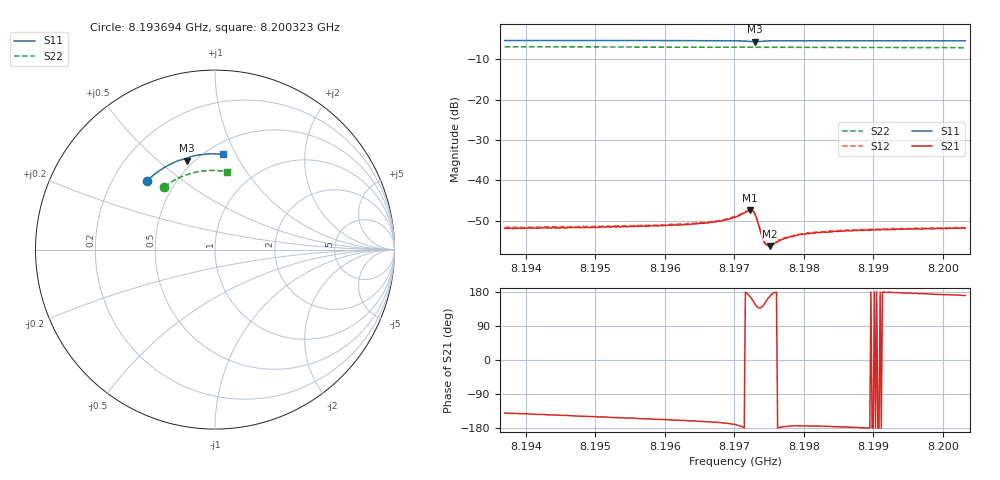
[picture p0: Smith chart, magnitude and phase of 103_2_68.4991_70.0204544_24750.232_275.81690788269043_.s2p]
#  HZ  S  RI  R  50.00
! Rohde & Schwarz Vector Network Analyzer
! Rohde-Schwarz,ZNB20-2Port,1311601062101988,3.16
! Created: UTC 3/20/2024, 4:53:08 PM
! freq[Hz]  re:S11  im:S11  re:S21  im:S21  re:S12  im:S12  re:S22  im:S22
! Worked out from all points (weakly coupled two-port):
!   401 points, 8.193694 GHz to 8.200323 GHz, reference 50 ohm
!   highest |S21| = -47.43 dB at 8.197224 GHz (marker M1); lowest = -56.3 dB at 8.197506 GHz (marker M2)
!   lowest |S11| = -5.7 dB at 8.197291 GHz (marker M3), VSWR 3.16, Z = 23 + j31.2 ohm
!   |S11| at or under -10 dB: nowhere
!   |S22| runs from -7.2 to -6.9 dB; largest |S21 - S12| = 0.00021
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8.1936941e9  -0.3793 0.3829  -0.00195 -0.00164  -0.00206 -0.00159  -0.2826 0.3495
8.1948045e9  -0.3192 0.4333  -0.00222 -0.00139  -0.00234 -0.00133  -0.231 0.384
8.195915e9  -0.2521 0.4744  -0.0025 -0.00107  -0.00261 -0.001  -0.1751 0.4105
8.1962796e9  -0.2285 0.4858  -0.00265 -0.001  -0.00276 -0.000885  -0.1559 0.4177
8.1966276e9  -0.205 0.4954  -0.00286 -0.000845  -0.00296 -0.00076  -0.1375 0.4236
8.1968762e9  -0.1872 0.5015  -0.00317 -0.000763  -0.00328 -0.000647  -0.1237 0.4272
8.1970088e9  -0.1766 0.504  -0.00345 -0.000584  -0.00357 -0.000441  -0.1165 0.4292
8.1972243e9  -0.1578 0.5003  -0.00415 0.000912  -0.00417 0.00109  -0.1046 0.4314
8.1972574e9  -0.1568 0.4973  -0.00393 0.0015  -0.00392 0.00168  -0.1029 0.4318
8.1972906e9  -0.1579 0.4951  -0.00335 0.00199  -0.00332 0.00213  -0.1011 0.432
8.1973237e9  -0.1604 0.4949  -0.00258 0.00209  -0.00256 0.00217  -0.0994 0.4325
8.19739e9  -0.1622 0.5005  -0.00161 0.00138  -0.00157 0.00149  -0.0959 0.4333
8.1974231e9  -0.1609 0.5035  -0.00145 0.000973  -0.00143 0.00107  -0.0941 0.4338
8.1974563e9  -0.1589 0.5062  -0.00146 0.000659  -0.00142 0.000747  -0.0923 0.434
8.1974894e9  -0.1566 0.5084  -0.00148 0.000424  -0.00152 0.000476  -0.0904 0.4344
8.197506e9  -0.1552 0.5093  -0.00149 0.000347  -0.00154 0.000402  -0.0895 0.4346
8.1977546e9  -0.1359 0.5174  -0.00192 -0.000154  -0.00198 -9.88e-05  -0.0757 0.4369
8.1978872e9  -0.1262 0.52  -0.00208 -0.000243  -0.00214 -0.000142  -0.0683 0.4379
8.1981192e9  -0.1093 0.5238  -0.00221 -0.000242  -0.00226 -0.000161  -0.0552 0.4394
8.1986496e9  -0.0716 0.53  -0.00236 -0.000113  -0.00241 2.38e-05  -0.0252 0.441
8.1992296e9  -0.0305 0.5332  -0.00245 4.74e-05  -0.0025 0.00018  0.00766 0.4406
8.2003235e9  0.0472 0.5309  -0.00252 0.000427  -0.00254 0.000557  0.0693 0.4333
